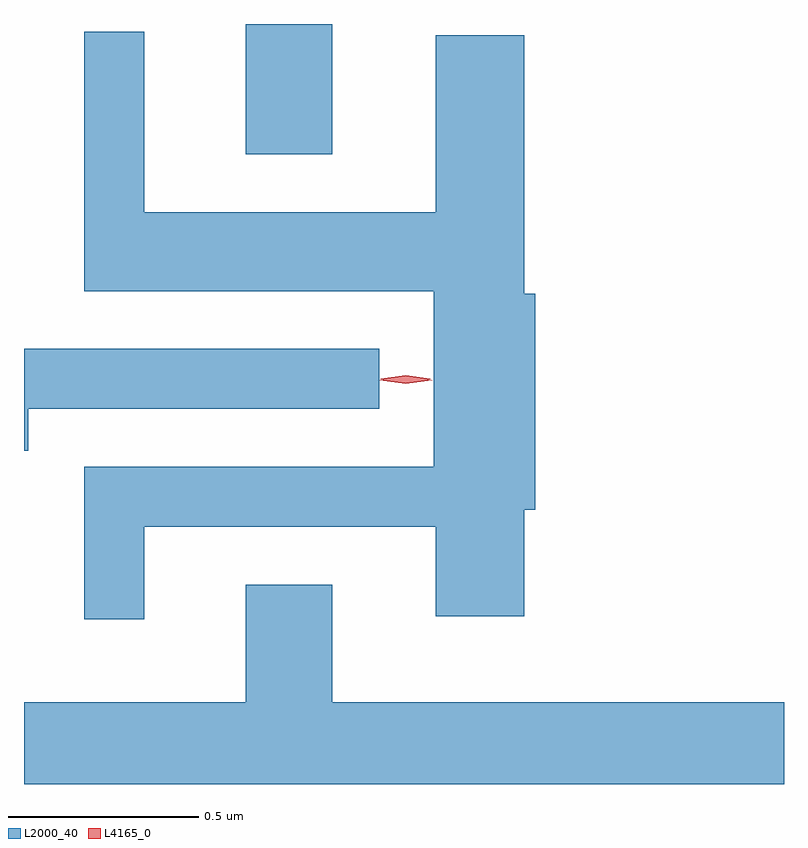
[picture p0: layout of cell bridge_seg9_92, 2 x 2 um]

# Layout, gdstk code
import gdstk
lib = gdstk.Library(unit=1e-6, precision=1e-09)
def R(c, l, rs):  # rectangles x0, y0, x1, y1
    for r in rs: c.add(gdstk.rectangle(r[:2], r[2:], *l))
def P(c, l, *ps):  # polygons
    for p in ps: c.add(gdstk.Polygon(p, *l))
L2000_40 = (2000, 40)
L4165_0 = (4165, 0)

bridge_seg9_92 = lib.new_cell('bridge_seg9_92')
R(bridge_seg9_92, L2000_40, [(1800.581,1984.646,1800.809,1984.989)])
P(bridge_seg9_92, L2000_40, [(1800.314,1983.666),(1801.081,1983.666),(1801.081,1983.431),(1801.314,1983.431),(1801.314,1983.711),(1801.344,1983.711),(1801.344,1984.279),(1801.314,1984.279),(1801.314,1984.959),(1801.081,1984.959),(1801.081,1984.494),(1800.314,1984.494),(1800.314,1984.968),(1800.156,1984.968),(1800.156,1984.286),(1801.076,1984.286),(1801.076,1983.824),(1800.156,1983.824),(1800.156,1983.423),(1800.314,1983.423)],
  [(1800.009,1983.976),(1800.933,1983.976),(1800.933,1984.134),(1799.998,1984.134),(1799.998,1983.866),(1800.009,1983.866)],
  [(1801.998,1983.204),(1800.809,1983.204),(1800.809,1983.514),(1800.581,1983.514),(1800.581,1983.204),(1799.998,1983.204),(1799.998,1982.989),(1801.998,1982.989)])
P(bridge_seg9_92, L4165_0, [(1801.003,1984.042),(1800.934,1984.051),(1800.934,1984.052),(1800.934,1984.052),(1801.003,1984.062),(1801.071,1984.052),(1801.072,1984.052),(1801.071,1984.051)],
  [(1801.002,1984.045),(1800.937,1984.054),(1800.937,1984.055),(1800.937,1984.055),(1801.002,1984.065),(1801.067,1984.055),(1801.067,1984.055),(1801.067,1984.054)])

lib.write_gds('bridge_seg9_92.gds')
